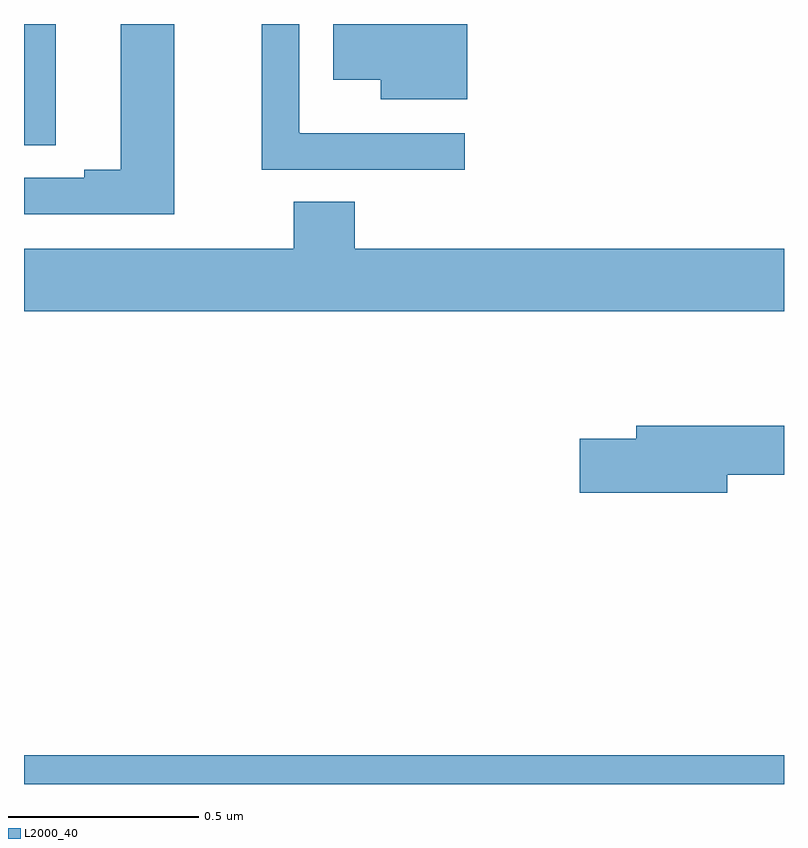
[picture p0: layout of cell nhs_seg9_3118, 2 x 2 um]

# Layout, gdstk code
import gdstk
lib = gdstk.Library(unit=1e-6, precision=1e-09)
def R(c, l, rs):  # rectangles x0, y0, x1, y1
    for r in rs: c.add(gdstk.rectangle(r[:2], r[2:], *l))
def P(c, l, *ps):  # polygons
    for p in ps: c.add(gdstk.Polygon(p, *l))
L2000_40 = (2000, 40)

nhs_seg9_3118 = lib.new_cell('nhs_seg9_3118')
R(nhs_seg9_3118, L2000_40, [(149,1204.5,151,1204.576), (149,1206.181,149.083,1206.5)])
P(nhs_seg9_3118, L2000_40, [(150.16,1206.213),(149.726,1206.213),(149.726,1206.214),(149.724,1206.214),(149.724,1206.5),(149.626,1206.5),(149.626,1206.117),(150.16,1206.117)],
  [(149.395,1206.5),(149.255,1206.5),(149.255,1206.116),(149.159,1206.116),(149.159,1206.096),(149,1206.096),(149,1206),(149.395,1206)],
  [(150.166,1206.5),(149.814,1206.5),(149.814,1206.353),(149.939,1206.353),(149.939,1206.302),(150.166,1206.302)],
  [(151,1205.908),(149.87,1205.908),(149.87,1206.032),(149.71,1206.032),(149.71,1205.908),(149,1205.908),(149,1205.744),(151,1205.744)],
  [(150.85,1205.314),(151,1205.314),(151,1205.443),(150.611,1205.443),(150.611,1205.409),(150.462,1205.409),(150.462,1205.267),(150.85,1205.267)])

lib.write_gds('nhs_seg9_3118.gds')
